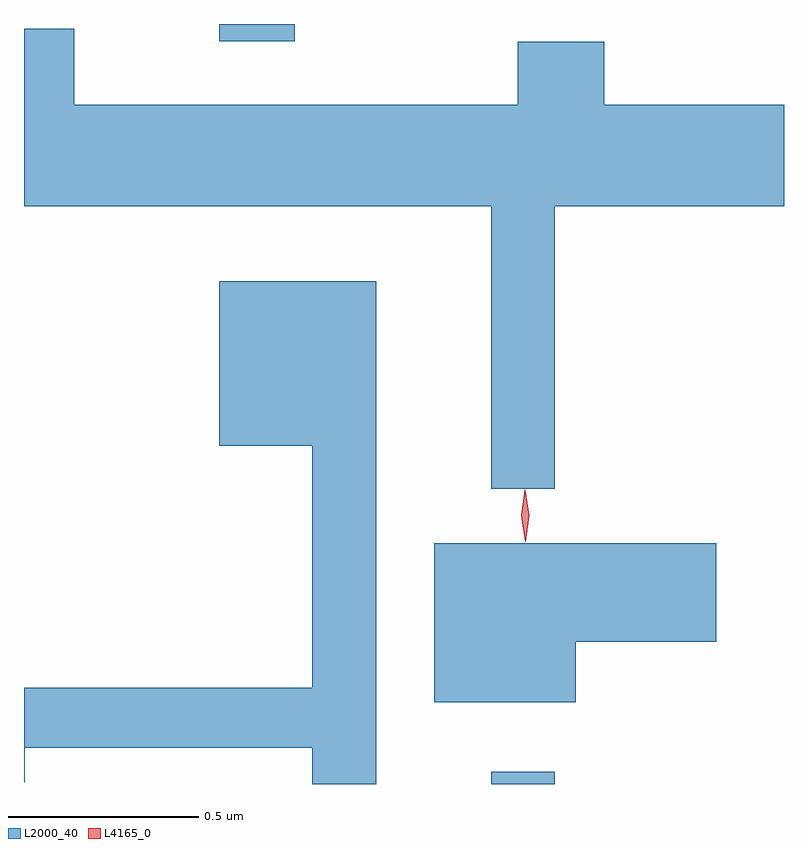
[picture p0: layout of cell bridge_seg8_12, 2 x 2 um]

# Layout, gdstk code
import gdstk
lib = gdstk.Library(unit=1e-6, precision=1e-09)
def R(c, l, rs):  # rectangles x0, y0, x1, y1
    for r in rs: c.add(gdstk.rectangle(r[:2], r[2:], *l))
def P(c, l, *ps):  # polygons
    for p in ps: c.add(gdstk.Polygon(p, *l))
L2000_40 = (2000, 40)
L4165_0 = (4165, 0)

bridge_seg8_12 = lib.new_cell('bridge_seg8_12')
R(bridge_seg8_12, L2000_40, [(1760.761,1921.476,1760.929,1921.508), (1760.046,1923.431,1760.244,1923.476)])
P(bridge_seg8_12, L2000_40, [(1760.929,1922.996),(1761.532,1922.996),(1761.532,1923.264),(1761.059,1923.264),(1761.059,1923.429),(1760.831,1923.429),(1760.831,1923.264),(1759.664,1923.264),(1759.664,1923.464),(1759.532,1923.464),(1759.532,1922.996),(1760.761,1922.996),(1760.761,1922.253),(1760.929,1922.253)],
  [(1760.459,1922.799),(1760.046,1922.799),(1760.046,1922.366),(1760.291,1922.366),(1760.291,1921.729),(1759.532,1921.729),(1759.532,1921.481),(1759.534,1921.481),(1759.534,1921.571),(1760.291,1921.571),(1760.291,1921.476),(1760.459,1921.476)],
  [(1760.984,1921.851),(1761.354,1921.851),(1761.354,1922.109),(1760.611,1922.109),(1760.611,1921.691),(1760.984,1921.691)])
P(bridge_seg8_12, L4165_0, [(1760.851,1922.114),(1760.851,1922.114),(1760.841,1922.182),(1760.85,1922.25),(1760.85,1922.25),(1760.851,1922.25),(1760.861,1922.182),(1760.852,1922.114)],
  [(1760.851,1922.12),(1760.851,1922.121),(1760.841,1922.183),(1760.85,1922.246),(1760.85,1922.247),(1760.851,1922.246),(1760.861,1922.184),(1760.852,1922.121)])

lib.write_gds('bridge_seg8_12.gds')
